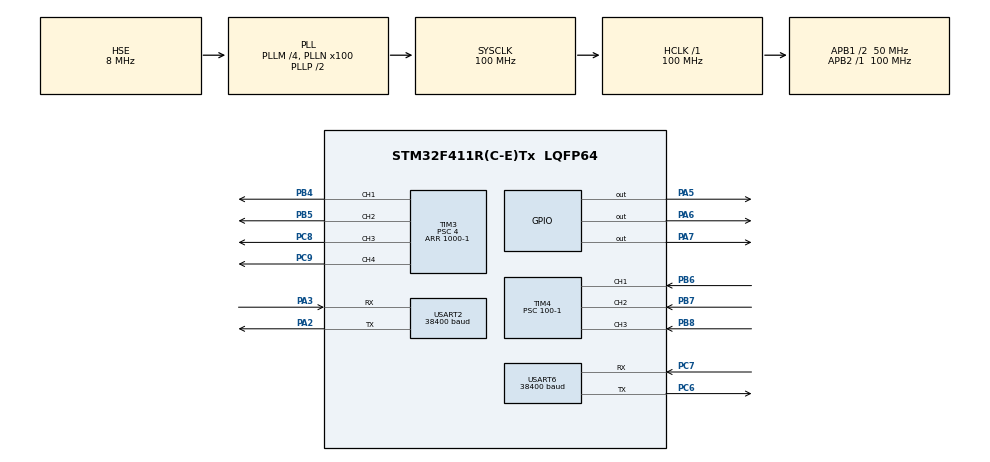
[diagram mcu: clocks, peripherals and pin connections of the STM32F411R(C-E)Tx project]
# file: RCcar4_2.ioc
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Mcu.Family=STM32F4
Mcu.Name=STM32F411R(C-E)Tx
Mcu.Package=LQFP64
NVIC.PriorityGroup=NVIC_PRIORITYGROUP_4
NVIC.TIM4_IRQn=true\:0\:0\:false\:false\:true\:true\:true\:true
NVIC.USART2_IRQn=true\:0\:0\:false\:false\:true\:true\:true\:true
NVIC.USART6_IRQn=true\:0\:0\:false\:false\:true\:true\:true\:true
PA13.Mode=Serial_Wire
PA13.Signal=SYS_JTMS-SWDIO
PA14.Mode=Serial_Wire
PA14.Signal=SYS_JTCK-SWCLK
PA2.Mode=Asynchronous
PA2.Signal=USART2_TX
PA3.Mode=Asynchronous
PA3.Signal=USART2_RX
PA5.GPIO_Speed=GPIO_SPEED_FREQ_VERY_HIGH
PA5.Signal=GPIO_Output
PA6.GPIO_Speed=GPIO_SPEED_FREQ_VERY_HIGH
PA6.Signal=GPIO_Output
PA7.GPIO_Speed=GPIO_SPEED_FREQ_VERY_HIGH
PA7.Signal=GPIO_Output
PB4.Signal=S_TIM3_CH1
PB5.Signal=S_TIM3_CH2
PB6.Signal=S_TIM4_CH1
PB7.Signal=S_TIM4_CH2
PB8.Signal=S_TIM4_CH3
PC6.Mode=Asynchronous
PC6.Signal=USART6_TX
PC7.Mode=Asynchronous
PC7.Signal=USART6_RX
PC8.Signal=S_TIM3_CH3
PC9.Signal=S_TIM3_CH4
PH0\ -\ OSC_IN.Mode=HSE-External-Oscillator
PH0\ -\ OSC_IN.Signal=RCC_OSC_IN
PH1\ -\ OSC_OUT.Mode=HSE-External-Oscillator
PH1\ -\ OSC_OUT.Signal=RCC_OSC_OUT
ProjectManager.HeapSize=0x200
ProjectManager.StackSize=0x400
ProjectManager.TargetToolchain=STM32CubeIDE
RCC.48MHZClocksFreq_Value=50000000
RCC.AHBFreq_Value=100000000
RCC.APB1CLKDivider=RCC_HCLK_DIV2
RCC.APB1Freq_Value=50000000
RCC.APB1TimFreq_Value=100000000
RCC.APB2Freq_Value=100000000
RCC.APB2TimFreq_Value=100000000
RCC.CortexFreq_Value=100000000
RCC.HCLKFreq_Value=100000000
RCC.HSE_VALUE=8000000
RCC.HSI_VALUE=16000000
RCC.LSE_VALUE=32768
RCC.PLLM=4
RCC.PLLN=100
RCC.PLLSourceVirtual=RCC_PLLSOURCE_HSE
RCC.SYSCLKFreq_VALUE=100000000
RCC.SYSCLKSource=RCC_SYSCLKSOURCE_PLLCLK
RCC.VCOOutputFreq_Value=200000000
SH.S_TIM3_CH1.0=TIM3_CH1,PWM Generation1 CH1
SH.S_TIM3_CH2.0=TIM3_CH2,PWM Generation2 CH2
SH.S_TIM3_CH3.0=TIM3_CH3,PWM Generation3 CH3
SH.S_TIM3_CH4.0=TIM3_CH4,PWM Generation4 CH4
SH.S_TIM4_CH1.0=TIM4_CH1,Input_Capture1_from_TI1
SH.S_TIM4_CH2.0=TIM4_CH2,Input_Capture2_from_TI2
SH.S_TIM4_CH3.0=TIM4_CH3,Input_Capture3_from_TI3
TIM11.Prescaler=100-1
TIM3.Channel-PWM\ Generation1\ CH1=TIM_CHANNEL_1
TIM3.Channel-PWM\ Generation2\ CH2=TIM_CHANNEL_2
TIM3.Channel-PWM\ Generation3\ CH3=TIM_CHANNEL_3
TIM3.Channel-PWM\ Generation4\ CH4=TIM_CHANNEL_4
TIM3.Period=1000-1
TIM3.Prescaler=4
TIM4.Channel-Input_Capture1_from_TI1=TIM_CHANNEL_1
TIM4.Channel-Input_Capture2_from_TI2=TIM_CHANNEL_2
TIM4.Channel-Input_Capture3_from_TI3=TIM_CHANNEL_3
TIM4.Prescaler=100-1
USART2.BaudRate=38400
USART2.VirtualMode=VM_ASYNC
USART6.BaudRate=38400
USART6.VirtualMode=VM_ASYNC
VP_TIM11_VS_ClockSourceINT.Mode=Enable_Timer
VP_TIM3_VS_ClockSourceINT.Mode=Internal
VP_TIM4_VS_ClockSourceINT.Mode=Internal
board=custom

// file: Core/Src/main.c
/* USER CODE BEGIN Header */
/**
  ******************************************************************************
  * @file           : main.c
  * @brief          : Main program body
  ******************************************************************************
  * @attention
  *
  * Copyright (c) 2025 STMicroelectronics.
  * All rights reserved.
  *
  * This software is licensed under terms that can be found in the LICENSE file
  * in the root directory of this software component.
  * If no LICENSE file comes with this software, it is provided AS-IS.
  *
  ******************************************************************************
  */
/* USER CODE END Header */
#include "main.h"
#include "tim.h"
#include "usart.h"
#include "gpio.h"

/* USER CODE BEGIN Includes */

#include "rcCar.h"
#include "ultrasonic.h"
#include "rcCar_auto.h"

/* USER CODE END Includes */

/* USER CODE BEGIN PV */
uint8_t rxData6;
uint8_t rxData2;

/* USER CODE END PV */

void SystemClock_Config(void);
/* USER CODE BEGIN PFP */

void HAL_UART_RxCpltCallback(UART_HandleTypeDef *huart)
{
    if(huart->Instance == USART6)
    {
        HAL_UART_Transmit (&huart2, &rxData6, 1, 1000);
        HAL_UART_Receive_IT(&huart6, &rxData6, 1);
    }
    else if(huart->Instance == USART2)
    {
        HAL_UART_Transmit (&huart6, &rxData2, 1, 1000);
        HAL_UART_Receive_IT(&huart2, &rxData2, 1);
    }
}

/* USER CODE END PFP */

int main(void)
{

  /* MCU Configuration--------------------------------------------------------*/

  /* Reset of all peripherals, Initializes the Flash interface and the Systick. */
  HAL_Init();

  /* Configure the system clock */
  SystemClock_Config();

  /* Initialize all configured peripherals */
  MX_GPIO_Init();
  MX_TIM3_Init();
  MX_USART2_UART_Init();
  MX_USART6_UART_Init();
  MX_TIM4_Init();
  MX_TIM11_Init();
  /* USER CODE BEGIN 2 */

  HAL_TIM_Base_Start(&htim11);  //for delay_us() Function
  HAL_TIM_IC_Start_IT(&htim4, TIM_CHANNEL_1);  //인터럽트면 콜백 이름 모르니까
  HAL_TIM_IC_Start_IT(&htim4, TIM_CHANNEL_2);
  HAL_TIM_IC_Start_IT(&htim4, TIM_CHANNEL_3);

  rcCar_init();

  HAL_TIM_PWM_Start(&htim3, TIM_CHANNEL_1);
  HAL_TIM_PWM_Start(&htim3, TIM_CHANNEL_2);
  HAL_TIM_PWM_Start(&htim3, TIM_CHANNEL_3);
  HAL_TIM_PWM_Start(&htim3, TIM_CHANNEL_4);

  HAL_UART_Receive_IT(&huart6, &rxData6, 1);
  HAL_UART_Receive_IT(&huart2, &rxData2, 1);

//  char msg[] = "AT+NAMEljs1\r\n";
//  HAL_UART_Transmit(&huart6, (uint8_t *)msg, strlen(msg), HAL_MAX_DELAY);
//
//  char confirm[] = "Name change command sent!\r\n";
//  HAL_UART_Transmit(&huart2, (uint8_t *)confirm, sizeof(confirm)-1, HAL_MAX_DELAY);

  /* USER CODE END 2 */

  /* Infinite loop */
  /* USER CODE BEGIN WHILE */
  while (1)
  {
//	  rcCar(rxData6);
	  HCSR04_TRIGGER();
	  rcCarAuto(distance1, distance2, distance3);

//      printf("Distance1 : %d cm\n",distance1);
//      printf("Distance2 : %d cm\n",distance2);
//      printf("Distance3 : %d cm\n",distance3);

    /* USER CODE END WHILE */

  }
}

void SystemClock_Config(void)
{
  RCC_OscInitTypeDef RCC_OscInitStruct = {0};
  RCC_ClkInitTypeDef RCC_ClkInitStruct = {0};

  /** Configure the main internal regulator output voltage
  */
  __HAL_RCC_PWR_CLK_ENABLE();
  __HAL_PWR_VOLTAGESCALING_CONFIG(PWR_REGULATOR_VOLTAGE_SCALE1);

  /** Initializes the RCC Oscillators according to the specified parameters
  * in the RCC_OscInitTypeDef structure.
  */
  RCC_OscInitStruct.OscillatorType = RCC_OSCILLATORTYPE_HSE;
  RCC_OscInitStruct.HSEState = RCC_HSE_ON;
  RCC_OscInitStruct.PLL.PLLState = RCC_PLL_ON;
  RCC_OscInitStruct.PLL.PLLSource = RCC_PLLSOURCE_HSE;
  RCC_OscInitStruct.PLL.PLLM = 4;
  RCC_OscInitStruct.PLL.PLLN = 100;
  RCC_OscInitStruct.PLL.PLLP = RCC_PLLP_DIV2;
  RCC_OscInitStruct.PLL.PLLQ = 4;
  if (HAL_RCC_OscConfig(&RCC_OscInitStruct) != HAL_OK)
  {
    Error_Handler();
  }

  /** Initializes the CPU, AHB and APB buses clocks
  */
  RCC_ClkInitStruct.ClockType = RCC_CLOCKTYPE_HCLK|RCC_CLOCKTYPE_SYSCLK
                              |RCC_CLOCKTYPE_PCLK1|RCC_CLOCKTYPE_PCLK2;
  RCC_ClkInitStruct.SYSCLKSource = RCC_SYSCLKSOURCE_PLLCLK;
  RCC_ClkInitStruct.AHBCLKDivider = RCC_SYSCLK_DIV1;
  RCC_ClkInitStruct.APB1CLKDivider = RCC_HCLK_DIV2;
  RCC_ClkInitStruct.APB2CLKDivider = RCC_HCLK_DIV1;

  if (HAL_RCC_ClockConfig(&RCC_ClkInitStruct, FLASH_LATENCY_3) != HAL_OK)
  {
    Error_Handler();
  }
}

void Error_Handler(void)
{
  __disable_irq();
  while (1)
  {
  }
}
